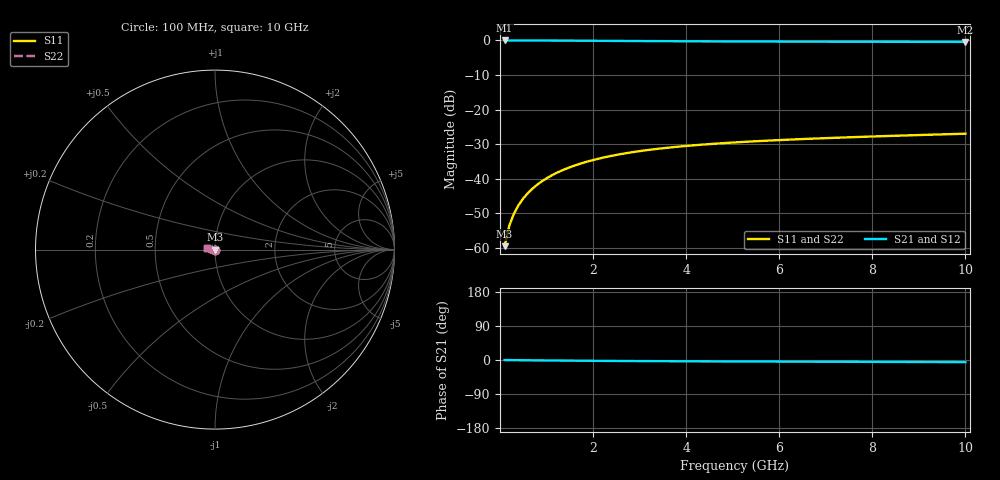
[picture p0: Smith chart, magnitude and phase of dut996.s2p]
! Touchstone file exported from HFSS 2024.1.0
!  File:  C:/UserFiles/LocalFiles/RDL_TSV_Batchsim/temp_TSV1_996_1779953192.aedt
!  Generated:  03:31:56 PM May 28, 2026
!  Design:  TSV1
!  Project:  temp_TSV1_996_1779953192
!  Setup:  Setup1
!  Solution:  Sweep
! Variables:
!  dtsv = 8.12um
!  hbump = 3um
!  htsv = 88.23um
!  lrdl = 252.1521522um
!  p = 40
!  p1 = 49.39um
!  t = 500um
!  trdl = 3um
!  wrdl = 24.89489489um
# GHz S MA R 50.000000
! Terminal data exported
! Port[1] = TSV22_T1
! Port[2] = TSV22_T2
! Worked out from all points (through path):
!   100 points, 100 MHz to 10 GHz, reference 50 ohm
!   highest |S21| = 0.00 dB at 100 MHz (marker M1); lowest = -0.4 dB at 10 GHz (marker M2)
!   lowest |S11| = -59.5 dB at 100 MHz (marker M3), VSWR 1.00, Z = 50 - j0.104 ohm
!   |S11| at or under -10 dB: start of sweep to end of sweep
!   |S22| runs from -59.5 to -27.0 dB; largest |S21 - S12| = 4.6e-15
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0.1  0.00106 -79.2  0.9997 -0.1  0.9997 -0.1  0.00106 -79.2
! Gamma 0 0 0 0
! Port Impedance 50 0 50 0
0.2  0.00209 -87.1  0.9996 -0.2  0.9996 -0.2  0.00209 -87.1
0.3  0.003126 -91.1  0.9994 -0.4  0.9994 -0.4  0.003126 -91.1
0.4  0.004159 -94.1  0.9992 -0.5  0.9992 -0.5  0.004159 -94.1
0.5  0.005184 -96.6  0.9989 -0.6  0.9989 -0.6  0.005184 -96.6
0.6  0.006199 -98.9  0.9985 -0.7  0.9985 -0.7  0.006199 -98.9
0.7  0.007203 -101.1  0.9981 -0.8  0.9981 -0.8  0.007203 -101.1
0.8  0.008193 -103.2  0.9976 -1.0  0.9976 -1.0  0.008193 -103.2
0.9  0.009169 -105.2  0.997 -1.1  0.997 -1.1  0.009169 -105.2
1.1  0.01107 -109.0  0.9958 -1.3  0.9958 -1.3  0.01107 -109.0
1.4  0.01378 -114.5  0.9937 -1.6  0.9937 -1.6  0.01378 -114.5
1.6  0.01549 -118.0  0.9921 -1.8  0.9921 -1.8  0.01549 -118.0
1.8  0.01711 -121.3  0.9905 -2.0  0.9905 -2.0  0.01711 -121.3
2.1  0.01938 -126.1  0.988 -2.2  0.988 -2.2  0.01938 -126.1
2.5  0.02211 -132.1  0.9846 -2.5  0.9846 -2.5  0.02211 -132.1
2.9  0.02452 -137.6  0.9812 -2.8  0.9812 -2.8  0.02452 -137.6
3.4  0.02714 -143.9  0.9774 -3.1  0.9774 -3.1  0.02714 -143.9
4.2  0.0306 -152.9  0.9719 -3.5  0.9719 -3.5  0.0306 -152.9
5.1  0.03369 -161.6  0.967 -3.8  0.967 -3.8  0.03369 -161.6
6.7  0.03797 -174.3  0.9605 -4.4  0.9605 -4.4  0.03797 -174.3
8.4  0.04166 174.8  0.956 -5.1  0.956 -5.1  0.04166 174.8
10  0.04481 166.3  0.9531 -5.7  0.9531 -5.7  0.04481 166.3
